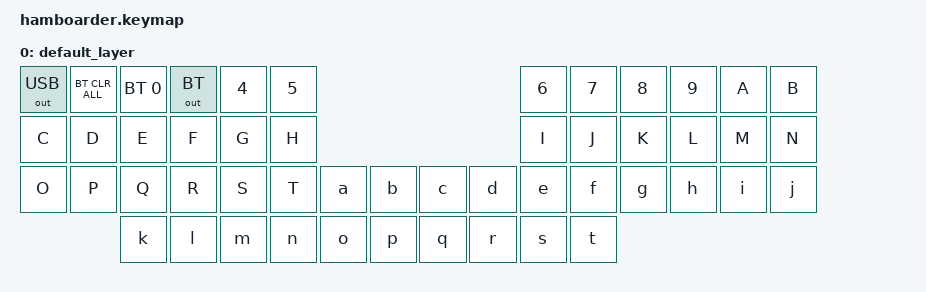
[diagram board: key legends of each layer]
#include <behaviors.dtsi>
#include <dt-bindings/zmk/keys.h>
#include <dt-bindings/zmk/bt.h>
#include <dt-bindings/zmk/outputs.h>

// mouse 
#define ZMK_POINTING_DEFAULT_MOVE_VAL 600  // default: 600
#define ZMK_POINTING_DEFAULT_SCRL_VAL 20   // default: 10
#include <dt-bindings/zmk/pointing.h>


#define DEFAULT 0
#define ONE 1
#define TWO 2
#define THREE 3
#define FOUR 4
#define FIVE 5
#define SIX 6


/ {

keymap {
        compatible = "zmk,keymap";
        default_layer {
 bindings = < 
 &out OUT_USB &bt BT_CLR_ALL &bt BT_SEL 0 &out OUT_BT &kp 4 &kp 5                         &kp 6 &kp 7 &kp 8 &kp 9 &kp A &kp B
 &kp C        &kp D          &kp E        &kp F       &kp G &kp H                         &kp I &kp J &kp K &kp L &kp M &kp N
 &kp O        &kp P          &kp Q        &kp R       &kp S &kp T &kp a &kp b &kp c &kp d &kp e &kp f &kp g &kp h &kp i &kp j
                             &kp k        &kp l       &kp m &kp n &kp o &kp p &kp q &kp r &kp s &kp t
            >;                  
        };          
    };
}


